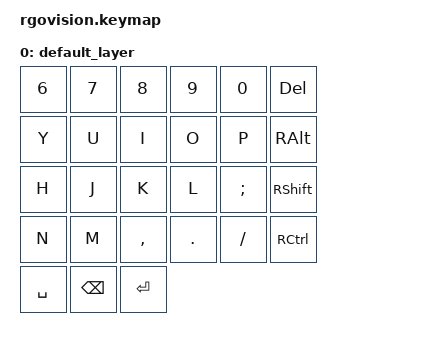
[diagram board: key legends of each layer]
/*
 * Copyright (c) 2020 ZMK Contributors
 *
 * SPDX-License-Identifier: MIT
 */

#include <behaviors.dtsi>
#include <dt-bindings/zmk/keys.h>
#include <dt-bindings/zmk/bt.h>

/ {
    keymap {
        compatible = "zmk,keymap";

        default_layer {
            bindings = <
                &kp N6     &kp N7     &kp N8     &kp N9     &kp N0     &kp DELETE
                &kp Y      &kp U      &kp I      &kp O      &kp P      &kp RALT
                &kp H      &kp J      &kp K      &kp L      &kp SEMI   &kp RSHIFT
                &kp N      &kp M      &kp COMMA  &kp DOT    &kp SLASH  &kp RCTRL
                &kp SPACE  &kp BSPC   &kp ENTER
            >;
        
        };
    };
};
